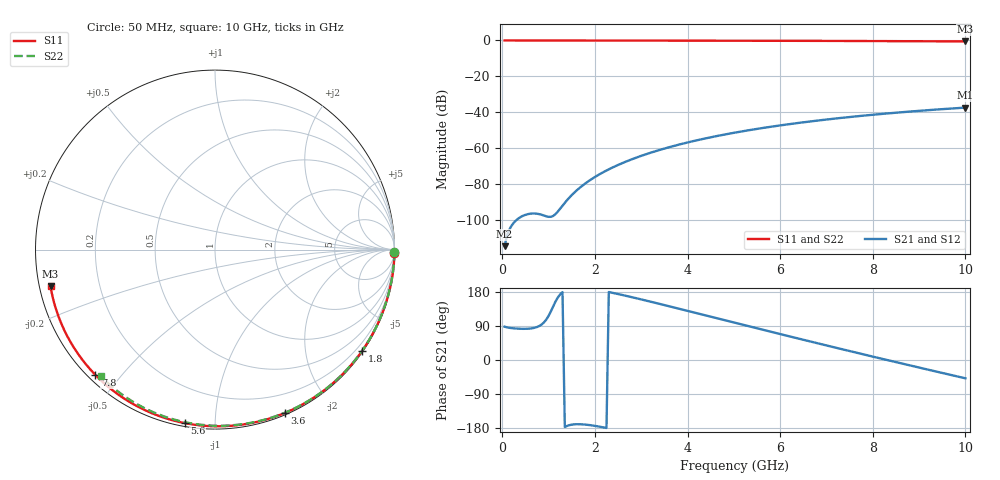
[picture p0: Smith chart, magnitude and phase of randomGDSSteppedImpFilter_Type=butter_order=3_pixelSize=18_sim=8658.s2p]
! freq	dB(S11)	phase(S11)	dB(S12)	phase(S12)
!  dB(S21)	phase(S21)	dB(S22)	phase(S22)
!S-par simulation data
#  GHz  S  DB  R 50
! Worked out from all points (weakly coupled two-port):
!   200 points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, 50 MHz to 10 GHz, reference 50 ohm
!   highest |S21| = -37.36 dB at 10 GHz (marker M1); lowest = -114.5 dB at 50 MHz (marker M2)
!   lowest |S11| = -0.5 dB at 10 GHz (marker M3), VSWR 31.87, Z = 1.59 - j5.53 ohm
!   |S11| at or under -10 dB: nowhere
!   |S22| runs from -0.4 to 0.0 dB; largest |S21 - S12| = 0
!   S11 on the Smith chart (normalised r, x): 50 MHz: open; 1.8 GHz: 0.03, -3.23; 3.6 GHz: 0.02, -1.51; 5.6 GHz: 0.02, -0.84; 7.8 GHz: 0.02, -0.43; 10 GHz: 0.03, -0.11
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0.05  -0.00 -1.0  -114.47 87.9  -114.47 87.9  -0.00 -0.8
0.45  -0.01 -8.8  -97.54 82.2  -97.54 82.2  -0.01 -6.9
0.85  -0.02 -16.5  -97.01 93.7  -97.01 93.7  -0.02 -12.9
1.3  -0.03 -25.0  -91.92 179.0  -91.92 179.0  -0.02 -19.6
1.75  -0.04 -33.5  -80.39 -170.0  -80.39 -170.0  -0.03 -26.3
1.8  -0.04 -34.4  -79.42 -170.5  -79.42 -170.5  -0.03 -27.0
2.1  -0.05 -40.0  -74.46 -175.9  -74.46 -175.9  -0.04 -31.4
2.3  -0.06 -43.7  -71.71 179.4  -71.71 179.4  -0.04 -34.4
2.5  -0.06 -47.3  -69.28 174.1  -69.28 174.1  -0.05 -37.3
2.9  -0.07 -54.5  -65.13 162.9  -65.13 162.9  -0.06 -43.0
3.4  -0.08 -63.4  -60.90 148.0  -60.90 148.0  -0.07 -50.1
3.6  -0.09 -66.9  -59.42 141.9  -59.42 141.9  -0.07 -52.9
4.3  -0.11 -78.8  -54.99 120.5  -54.99 120.5  -0.09 -62.5
5.05  -0.14 -91.2  -51.16 97.4  -51.16 97.4  -0.11 -72.5
5.6  -0.16 -100.0  -48.80 80.6  -48.80 80.6  -0.13 -79.6
6.15  -0.19 -108.6  -46.74 63.9  -46.74 63.9  -0.15 -86.6
6.7  -0.23 -117.1  -44.91 47.4  -44.91 47.4  -0.18 -93.4
7.25  -0.27 -125.4  -43.29 31.0  -43.29 31.0  -0.21 -100.1
7.8  -0.31 -133.7  -41.84 14.8  -41.84 14.8  -0.25 -106.6
8.35  -0.36 -142.0  -40.53 -1.2  -40.53 -1.2  -0.29 -113.1
9.2  -0.45 -154.9  -38.77 -25.6  -38.77 -25.6  -0.36 -122.8
10  -0.55 -167.4  -37.36 -48.3  -37.36 -48.3  -0.45 -131.9
